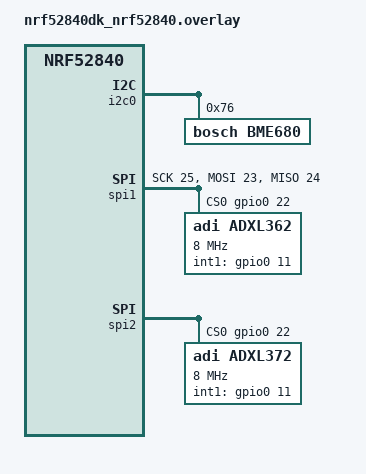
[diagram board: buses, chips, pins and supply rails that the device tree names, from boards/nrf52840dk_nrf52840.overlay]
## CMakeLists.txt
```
#
# Copyright (c) 2018 EUROS Embedded Systems GmbH
#
# SPDX-License-Identifier: Apache-2.0
#

cmake_minimum_required(VERSION 3.13.1)
find_package(Zephyr REQUIRED HINTS $ENV{ZEPHYR_BASE})
project(NONE)

FILE(GLOB app_sources src/*.c)
target_sources(app PRIVATE ${app_sources})
```

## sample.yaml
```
sample:
  name: thingy91 Sensor sample
tests:
  sample.sensor.thingy91:
    harness: sensor
    tags: samples sensor
    platform_allow: thingy91_nrf9160_ns
    platform_whitelist: thingy91_nrf9160_ns
    depends_on: spi adxl362
```

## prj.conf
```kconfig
CONFIG_FPU=y
CONFIG_NRF_MODEM_LIB=y
CONFIG_STDOUT_CONSOLE=y
CONFIG_UART_INTERRUPT_DRIVEN=y
CONFIG_I2C=y
CONFIG_BME680=y

CONFIG_SPI=y
CONFIG_SENSOR=y
CONFIG_ADXL362=y
CONFIG_ADXL362_TRIGGER_GLOBAL_THREAD=y
CONFIG_ADXL362_INTERRUPT_MODE=1
CONFIG_ADXL362_ABS_REF_MODE=1

CONFIG_LOG=y
CONFIG_SENSOR_LOG_LEVEL_WRN=y
CONFIG_ADXL372=y
CONFIG_ADXL372_TRIGGER_GLOBAL_THREAD=y

CONFIG_BH1749=y
CONFIG_BH1749_TRIGGER=y


CONFIG_NEWLIB_LIBC=y
CONFIG_NEWLIB_LIBC_FLOAT_PRINTF=y

# LTE Link Control
CONFIG_LTE_LINK_CONTROL=y
CONFIG_LTE_NETWORK_MODE_LTE_M_GPS=n
CONFIG_LTE_NETWORK_MODE_NBIOT_GPS=y
# Request eDRX from the network
CONFIG_LTE_EDRX_REQ=y
# PSM requested periodic TAU 8 hours
CONFIG_LTE_PSM_REQ_RPTAU="00101000"
# PSM requested active time 6 seconds
CONFIG_LTE_PSM_REQ_RAT="00000011"
# Auto-connect should be left off as we want the application to control LTE
CONFIG_LTE_AUTO_INIT_AND_CONNECT=n

# AT Host library - Used to send AT commands directy from an UART terminal and to allow
#		    integration with nRF Connect for Desktop LTE Link monitor application.
CONFIG_AT_HOST_LIBRARY=y

# Networking
CONFIG_NETWORKING=y
CONFIG_NET_SOCKETS_OFFLOAD=y
CONFIG_NET_SOCKETS=y
CONFIG_NET_SOCKETS_POSIX_NAMES=y
# Disable native network stack to save some memory
CONFIG_NET_NATIVE=n

# Memory and stack configuration
CONFIG_HEAP_MEM_POOL_SIZE=2048
CONFIG_MAIN_STACK_SIZE=4096
CONFIG_SYSTEM_WORKQUEUE_STACK_SIZE=1536

# Modem info
CONFIG_MODEM_INFO=y
```

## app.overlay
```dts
/*
 * Copyright (c) 2020, Nordic Semiconductor ASA
 *
 * SPDX-License-Identifier: Apache-2.0
 */

&adxl372 {
	bw = <4>;
	hpf = <0>;
	odr = <4>;
};
```

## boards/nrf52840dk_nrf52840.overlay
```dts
/*
 * Copyright (c) 2020, Nordic Semiconductor ASA
 *
 * SPDX-License-Identifier: Apache-2.0
 */

&i2c0 {
	bme680@76 {
		compatible = "bosch,bme680";
		reg = <0x76>;
		label = "BME680";
	};
};

&spi1 {
	status = "okay";
	sck-pin = <25>;
	mosi-pin = <23>;
	miso-pin = <24>;
	cs-gpios = <&gpio0 22 0>;

	adxl362@0 {
		compatible = "adi,adxl362";
		label = "ADXL362";
		spi-max-frequency = <8000000>;
		reg = <0>;
		int1-gpios = <&gpio0 11 GPIO_ACTIVE_HIGH>;
	};
};

&spi2 {
	cs-gpios = <&gpio0 22 0>;
	adxl372@0 {
		compatible = "adi,adxl372";
		reg = <0>;
		spi-max-frequency = <8000000>;
		label = "ADXL372";
		int1-gpios = <&gpio0 11 GPIO_ACTIVE_HIGH>;
	};
};
```

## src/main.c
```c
/*
 * Copyright (c) 2018 Bosch Sensortec GmbH
 *
 * SPDX-License-Identifier: Apache-2.0
 */

#include <zephyr/kernel.h>
#include <sys/types.h>
#include <zephyr/device.h>
#include <zephyr/devicetree.h>
#include <zephyr/drivers/gpio.h>
#include <zephyr/drivers/sensor.h>
#include <stdio.h>
#include <string.h>


#if CONFIG_NETWORKING
int btn_init(void);
int led_init(void);
ssize_t lte_send(const char * msg, size_t size);
#endif


#define OK 0
#define FAIL -1

#define MSG_SIZE 256

#define ENABLE_UART_OUT 1
#define ENABLE_ADXL362  1
#define ENABLE_ADXL372  1
#define ENABLE_BH1749   1
#define ENABLE_BME680   1

#define ADXL372_SKIP    4
#define BME680_SKIP    32

//#undef CONFIG_ADXL372_PEAK_DETECT_MODE
#define BH1749_THRESHOLD_UPPER          50
#define BH1749_THRESHOLD_LOWER          0
#define BH1749_TRIGGER_ON_DATA_READY    1


K_SEM_DEFINE(adxl362_sem, 0, 1);
K_SEM_DEFINE(adxl372_sem, 0, 1);
K_SEM_DEFINE(bh1749_sem, 0, 1);



#if ENABLE_ADXL362
// ADXL362
static void trigger_handler_adxl362(const struct device * dev, const struct sensor_trigger * trig)
{
	switch (trig->type)
	{
	case SENSOR_TRIG_DATA_READY:
	{
		int ret = sensor_sample_fetch(dev);

		if (ret < 0)
		{
			printf("ADXL362  Sample fetch error %d\n", ret);
			return;
		}

		k_sem_give(&adxl362_sem);

		break;
	}

	case SENSOR_TRIG_MOTION:
		printf("ADXL362  Motion trigger\n");

		break;

	case SENSOR_TRIG_STATIONARY:
		printf("ADXL362  Stationary trigger\n");

		break;

	default:
		printf("ADXL362  Unknown trigger %u\n", trig->type);
	}
}
#endif


#if ENABLE_ADXL372
// ADXL372
static void trigger_handler_adxl372(const struct device * dev, const struct sensor_trigger * trigger)
{
	ARG_UNUSED(trigger);

	int ret = sensor_sample_fetch(dev);

	if (ret < 0)
	{
		printf("ADXL372  sensor_sample_fetch failed %d\n", ret);
		return;
	}

	k_sem_give(&adxl372_sem);
}
#endif


#if ENABLE_BH1749
// BH1749
static void bh1749_trigger_handler(const struct device * dev, const struct sensor_trigger * trigger)
{
#if 0
	ARG_UNUSED(dev);

	switch (trigger->type)
	{
	case SENSOR_TRIG_THRESHOLD:
		printf("BH1749  Threshold trigger\r\n");
		break;

	case SENSOR_TRIG_DATA_READY:
		printf("BH1749  Data ready trigger\r\n");
		break;

	default:
		printf("BH1749  Unknown trigger event %d\r\n", trigger->type);
		break;
	}
#endif


	// The sensor does only support fetching SENSOR_CHAN_ALL
	int ret = sensor_sample_fetch_chan(dev, SENSOR_CHAN_ALL);

	if (ret)
	{
		printf("BH1749  sensor_sample_fetch failed ret %d\n", ret);
		return;
	}

	k_sem_give(&bh1749_sem);
}

static int bh1749_set_attribute(
	const struct device * dev,
	enum sensor_channel chan,
	enum sensor_attribute attr,
	int value
)
{
	int ret;
	struct sensor_value sensor_val;

	sensor_val.val1 = (value);

	ret = sensor_attr_set(dev, chan, attr, &sensor_val);

	if (ret)
	{
		printf("BH1749  sensor_attr_set failed ret %d\n", ret);
	}

	return ret;
}
#endif


int main(void)
{
	char msg[MSG_SIZE];
	size_t size = 0;

#if CONFIG_NETWORKING
	// init button and LED
	led_init();
	btn_init();
#endif


#if ENABLE_ADXL362
	// ADXL362
	const struct device * adxl362_dev = DEVICE_DT_GET_ONE(adi_adxl362);

	if (!device_is_ready(adxl362_dev))
	{
		printf("ADXL362  Device %s is not ready\n", adxl362_dev->name);
		return 1;
	}

	printf(
		"ADXL362 Device %p name is %s  "
#if CONFIG_ADXL362_TRIGGER
		"TRIGGER"
#else
		"NO TRIGGER"
#endif
		"\n",
		adxl362_dev,
		adxl362_dev->name
	);

	const struct sensor_trigger trig_adxl362_motion =
	{
		.type = SENSOR_TRIG_MOTION,
		.chan = SENSOR_CHAN_ACCEL_XYZ,
	};

	const struct sensor_trigger trig_adxl362_data_ready =
	{
		.type = SENSOR_TRIG_DATA_READY,
		.chan = SENSOR_CHAN_ACCEL_XYZ,
	};

	if (IS_ENABLED(CONFIG_ADXL362_TRIGGER))
	{
		if (sensor_trigger_set(adxl362_dev, &trig_adxl362_motion, trigger_handler_adxl362))
		{
			printf("ADXL362  Trigger set error: motion\n");
			return 1;
		}

		if (sensor_trigger_set(adxl362_dev, &trig_adxl362_data_ready, trigger_handler_adxl362))
		{
			printf("ADXL362  Trigger set error: data ready\n");
		}
	}
#endif


#if ENABLE_ADXL372
	// ADXL372
	const struct device * adxl372_dev = DEVICE_DT_GET_ANY(adi_adxl372);

	if (!device_is_ready(adxl372_dev))
	{
		printf("ADXL372  Device %s is not ready\n", adxl372_dev->name);
		return 1;
	}

	printf(
		"ADXL372 Device %p name is %s  "
#if CONFIG_ADXL372_TRIGGER
#if CONFIG_ADXL372_PEAK_DETECT_MODE
		"THRESHOLD"
#else
		"DATA_READY"
#endif
#else
		"NO TRIGGER"
#endif
		"\n",
		adxl372_dev,
		adxl372_dev->name
	);

	const struct sensor_trigger trig_adxl372 =
	{
#if CONFIG_ADXL372_PEAK_DETECT_MODE
		.type = SENSOR_TRIG_THRESHOLD,
#else
		.type = SENSOR_TRIG_DATA_READY,
#endif
		.chan = SENSOR_CHAN_ACCEL_XYZ,
	};

	if (IS_ENABLED(CONFIG_ADXL372_TRIGGER))
	{
		if (sensor_trigger_set(adxl372_dev, &trig_adxl372, trigger_handler_adxl372))
		{
			printf("ADXL372  Could not set trigger\n");
			return 1;
		}
	}
#endif


#if ENABLE_BH1749
	// BH1749
	const struct device * bh1749_dev;

	if (IS_ENABLED(CONFIG_LOG_BACKEND_RTT))
	{
		// Give RTT log time to be flushed before executing tests
		//-k_sleep(K_MSEC(500));
	}

	bh1749_dev = DEVICE_DT_GET_ONE(rohm_bh1749);

	if (bh1749_dev == NULL)
	{
		printf("BH1749  Failed to get device binding\n");
		return 1;
	}

	printf(
		"BH1749  Device %p name is %s  "
#if CONFIG_BH1749_TRIGGER
		"TRIGGER"
#else
		"NO TRIGGER"
#endif
		"\n",
		bh1749_dev,
		bh1749_dev->name
	);

	const struct sensor_trigger trig_bh1749 =
	{
#if BH1749_TRIGGER_ON_DATA_READY
		.type = SENSOR_TRIG_DATA_READY,
#else
		.type = SENSOR_TRIG_THRESHOLD,
#endif
		.chan = SENSOR_CHAN_RED,
	};

	if (IS_ENABLED(CONFIG_BH1749_TRIGGER))
	{
		bh1749_set_attribute(
			bh1749_dev,
			SENSOR_CHAN_ALL,
			SENSOR_ATTR_LOWER_THRESH,
			BH1749_THRESHOLD_LOWER
		);

		bh1749_set_attribute(
			bh1749_dev,
			SENSOR_CHAN_ALL,
			SENSOR_ATTR_UPPER_THRESH,
			BH1749_THRESHOLD_UPPER
		);

		if (sensor_trigger_set(bh1749_dev, &trig_bh1749, bh1749_trigger_handler))
		{
			printf("BH1749  Could not set trigger\n");
			return 1;
		}
	}

#endif


#if ENABLE_BME680
	// BME680
	const struct device * bme680_dev = DEVICE_DT_GET_ONE(bosch_bme680);

	if (!device_is_ready(bme680_dev))
	{
		printk("BME680  Device not ready.\n");
		return 1;
	}

	printf("BME680  Device %p name is %s\n", bme680_dev, bme680_dev->name);
#endif


	//
	int i = 0;


	while (true)
	{
		i++;

#if ENABLE_ADXL362
		// ADXL362
#if !CONFIG_ADXL362_TRIGGER
		{
			k_sleep(K_MSEC(1000));
			const int ret = sensor_sample_fetch(adxl362_dev);

			if (ret < 0)
			{
				printf("ADXL362  Sample fetch error %d\n", ret);
				return 1;
			}
		}
#else
		if (OK == k_sem_take(&adxl362_sem, K_FOREVER))
#endif
		{
			struct sensor_value adxl362_accel[3];

			if (sensor_channel_get(adxl362_dev, SENSOR_CHAN_ACCEL_XYZ, adxl362_accel))
			{
				printf("ADXL362  Channel get error\n");
				return 1;
			}

			size = snprintf(
				msg,
				sizeof(msg),
				"adxl362={\"x\": %.1f, \"y\": %.1f, \"z\": %.1f}\n",
				sensor_value_to_double(&adxl362_accel[0]),
				sensor_value_to_double(&adxl362_accel[1]),
				sensor_value_to_double(&adxl362_accel[2])
			);

#if ENABLE_UART_OUT
			printf("%s", msg);
#endif

#if CONFIG_NETWORKING
			lte_send(msg, size);
#endif
		}
#endif


#if ENABLE_ADXL372
		// ADXL372
#if !CONFIG_ADXL372_TRIGGER
		if (!(i % ADXL372_SKIP))
		{
			const int ret = sensor_sample_fetch(adxl372_dev);

			if (ret < 0)
			{
				printf("ADXL372  sensor_sample_fetch failed %d\n", ret);
				return 1;
			}
#else
		if (OK == k_sem_take(&adxl372_sem, K_NO_WAIT))
		{
#endif
			struct sensor_value adxl372_accel[3];

			if (sensor_channel_get(adxl372_dev, SENSOR_CHAN_ACCEL_XYZ, adxl372_accel))
			{
				printf("ADXL372  Channel get error\n");
				return 1;
			}

			size = snprintf(
				msg,
				sizeof(msg),
				"adxl372={\"x\": %.1f, \"y\": %.1f, \"z\": %.1f}\n",
				sensor_value_to_double(&adxl372_accel[0]),
				sensor_value_to_double(&adxl372_accel[1]),
				sensor_value_to_double(&adxl372_accel[2])
			);

#if ENABLE_UART_OUT
			printf("%s", msg);
#endif

#if CONFIG_NETWORKING
			lte_send(msg, size);
#endif
		}
#endif


#if ENABLE_BH1749
		// BH1749
#if !CONFIG_BH1749_TRIGGER
		{
			const int ret = sensor_sample_fetch_chan(bh1749_dev, SENSOR_CHAN_ALL);

			if (ret < 0)
			{
				printf("BH1749  sensor_sample_fetch failed %d\n", ret);
				return 1;
			}
		}
#else
		if (OK == k_sem_take(&bh1749_sem, K_NO_WAIT))
#endif
		{
			struct sensor_value bh1749_r;
			struct sensor_value bh1749_g;
			struct sensor_value bh1749_b;
			struct sensor_value bh1749_i;

			int ret_r = sensor_channel_get(bh1749_dev, SENSOR_CHAN_RED, &bh1749_r);
			int ret_g = sensor_channel_get(bh1749_dev, SENSOR_CHAN_GREEN, &bh1749_g);
			int ret_b = sensor_channel_get(bh1749_dev, SENSOR_CHAN_BLUE, &bh1749_b);
			int ret_i = sensor_channel_get(bh1749_dev, SENSOR_CHAN_IR, &bh1749_i);

			if (ret_r || ret_g || ret_b || ret_i)
			{
				printf(
					"sensor_channel_get failed  r %d  g %d  b %d  i %d\n",
					ret_r,
					ret_g,
					ret_b,
					ret_i
				);

				return 1;
			}

			size = snprintf(
				msg,
				sizeof(msg),
				"bh1749={\"r\": %d, \"g\": %d, \"b\": %d, \"i\": %d}\n",
				bh1749_r.val1,
				bh1749_g.val1,
				bh1749_b.val1,
				bh1749_i.val1
			);

#if ENABLE_UART_OUT
			printf("%s", msg);
#endif

#if CONFIG_NETWORKING
			lte_send(msg, size);
#endif
		}
#endif


#if ENABLE_BME680
		// BME680
		if (!(i % BME680_SKIP))
		{
			//k_sleep(K_MSEC(3000));
			struct sensor_value temp, press, humidity, gas_res;
			const int ret = sensor_sample_fetch(bme680_dev);

			if (ret < 0)
			{
				printf("BME680  sensor_sample_fetch failed %d\n", ret);
				return 1;
			}

			sensor_channel_get(bme680_dev, SENSOR_CHAN_AMBIENT_TEMP, &temp);
			sensor_channel_get(bme680_dev, SENSOR_CHAN_PRESS, &press);
			sensor_channel_get(bme680_dev, SENSOR_CHAN_HUMIDITY, &humidity);
			sensor_channel_get(bme680_dev, SENSOR_CHAN_GAS_RES, &gas_res);

			size = snprintf(
				msg,
				sizeof(msg),
				"bme680={\"temp\": %d.%03d, \"pressure\": %d.%03d, \"humidity\": %d.%03d, \"gas\": %d}\n",
				temp.val1, temp.val2 / 1000,
				press.val1, press.val2 / 1000,
				humidity.val1, humidity.val2 / 1000,
				gas_res.val1
			);

#if ENABLE_UART_OUT
			printf("%s", msg);
#endif

#if CONFIG_NETWORKING
			lte_send(msg, size);
#endif
		}
#endif
	}

	return 0;
}
```

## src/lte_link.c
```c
/*
 * Copyright (c) 2020 EUROS Embedded Systems GmbH
 *
 * SPDX-License-Identifier: Apache-2.0
 */

#if CONFIG_NETWORKING
#include <zephyr/kernel.h>
#include <nrf_socket.h>
#include <zephyr/net/socket.h>
#include <sys/types.h>
#include <zephyr/device.h>
#include <zephyr/devicetree.h>
#include <zephyr/drivers/gpio.h>
#include <zephyr/drivers/sensor.h>
#include <stdio.h>
#include <string.h>

 // LTE modem
#include <modem/nrf_modem_lib.h>
#include <modem/lte_lc.h>
#include <modem/modem_info.h>


#define OK 0
#define FAIL -1

#define CONFIG_TCP_SERVER_ADDRESS_STATIC "81.161.241.2" // gvalkov.com
//#define CONFIG_TCP_SERVER_ADDRESS_STATIC "87.138.172.131" // euros-embedded.com
#define CONFIG_TCP_SERVER_PORT 81


// LED
#if CONFIG_BOARD_THINGY91_NRF9160_NS
#define LED_R_NODE DT_ALIAS(led0)
#define LED_G_NODE DT_ALIAS(led1)
#define LED_B_NODE DT_ALIAS(led2)
#define LED_SR_NODE DT_ALIAS(sense_led0)
#define LED_SG_NODE DT_ALIAS(sense_led1)
#define LED_SB_NODE DT_ALIAS(sense_led2)
#elif CONFIG_BOARD_NRF9160DK_NRF9160_NS
#define LED_R_NODE DT_ALIAS(led1)
#define LED_G_NODE DT_ALIAS(led2)
#define LED_B_NODE DT_ALIAS(led3)
#define LED_SR_NODE DT_ALIAS(led1)
#define LED_SG_NODE DT_ALIAS(led2)
#define LED_SB_NODE DT_ALIAS(led3)
#else
#error "Unsupported board: please use nRF9160dk or Thingy:91"
#endif

#if DT_NODE_HAS_STATUS(LED_R_NODE, okay)
#define LED_R	  GPIO_DT_SPEC_GET(LED_R_NODE, gpios)
#define LED_G	  GPIO_DT_SPEC_GET(LED_G_NODE, gpios)
#define LED_B	  GPIO_DT_SPEC_GET(LED_B_NODE, gpios)
#define LED_SR	  GPIO_DT_SPEC_GET(LED_SR_NODE, gpios)
#define LED_SG	  GPIO_DT_SPEC_GET(LED_SG_NODE, gpios)
#define LED_SB	  GPIO_DT_SPEC_GET(LED_SB_NODE, gpios)
#define PIN_R	  DT_GPIO_PIN(LED_R_NODE, gpios)
#define PIN_G	  DT_GPIO_PIN(LED_G_NODE, gpios)
#define PIN_B	  DT_GPIO_PIN(LED_B_NODE, gpios)
#define PIN_SR	  DT_GPIO_PIN(LED_SR_NODE, gpios)
#define PIN_SG	  DT_GPIO_PIN(LED_SG_NODE, gpios)
#define PIN_SB	  DT_GPIO_PIN(LED_SB_NODE, gpios)
#define FLAGS_R	  DT_GPIO_FLAGS(LED_R_NODE, gpios)
#define FLAGS_G	  DT_GPIO_FLAGS(LED_G_NODE, gpios)
#define FLAGS_B	  DT_GPIO_FLAGS(LED_B_NODE, gpios)
#define FLAGS_SR  DT_GPIO_FLAGS(LED_SR_NODE, gpios)
#define FLAGS_SG  DT_GPIO_FLAGS(LED_SG_NODE, gpios)
#define FLAGS_SB  DT_GPIO_FLAGS(LED_SB_NODE, gpios)

gpio_flags_t led_flags[] = { FLAGS_R, FLAGS_G, FLAGS_B, FLAGS_SR, FLAGS_SG, FLAGS_SB };
#define LED_COUNT (sizeof(led_flags) / sizeof(*led_flags))
#else
#error "Unsupported board: led0 devicetree alias is not defined"
#endif

struct LED_t
{
	const struct gpio_dt_spec r;
	const struct gpio_dt_spec g;
	const struct gpio_dt_spec b;
};

struct LEDS_t
{
	union
	{
		struct
		{
			struct LED_t main;
			struct LED_t sense;
		};

		const struct gpio_dt_spec list[LED_COUNT];
	};
};

static struct LEDS_t led =
{
	.list =
	{
		LED_R, LED_G, LED_B, LED_SR, LED_SG, LED_SB
	}
};

static int led_g_state = false;

int led_init(void)
{
	int b = OK;
	size_t i = 0;

	for (i = 0; i < LED_COUNT; i++)
	{
		gpio_pin_configure_dt(&led.list[i], led_flags[i] | GPIO_OUTPUT_INACTIVE);
	}

	return b;
}

int led_set(const struct gpio_dt_spec * led, int on)
{
	return gpio_pin_set_dt(led, on);
}

int led_set_rgb(struct LED_t * led, int r, int g, int b)
{
	int err = 0;
	err |= led_set(&led->r, r);
	err |= led_set(&led->g, g);
	err |= led_set(&led->b, b);

	return err;
}

int led_toggle_g(void)
{
	led_g_state = led_g_state ? false : true;

	return led_set(&led.main.g, led_g_state);
}


// BUTTONS
#define BTN_0_NODE DT_ALIAS(sw0)

#if DT_NODE_HAS_STATUS(BTN_0_NODE, okay)
#define BTN_0		GPIO_DT_SPEC_GET(BTN_0_NODE, gpios)
#define BTN_0_FLAGS	DT_GPIO_FLAGS(BTN_0_NODE, gpios)
#else
#error "Unsupported board: sw0 devicetree alias is not defined"
#endif

static struct gpio_callback btn_0_cb_data;
static const struct gpio_dt_spec btn_0 = BTN_0;
static int btn_0_trigger_count = 0;
static int btn_0_trigger = 0;

void btn_0_pressed(const struct device * dev, struct gpio_callback * cb, uint32_t pins)
{
	if (++btn_0_trigger_count >= 5)
	{
		btn_0_trigger_count = 0;
		btn_0_trigger = 1;
		led_set_rgb(&led.sense, 1, 1, 1);
	}
}

int btn_init(void)
{
	int b = FAIL;

	gpio_pin_configure_dt(&btn_0, BTN_0_FLAGS | GPIO_INPUT);
	gpio_pin_interrupt_configure_dt(&btn_0, GPIO_INT_EDGE_TO_ACTIVE);

	if (
		(OK == gpio_pin_configure_dt(&btn_0, BTN_0_FLAGS | GPIO_INPUT)) &&
		(OK == gpio_pin_interrupt_configure_dt(&btn_0, GPIO_INT_EDGE_TO_ACTIVE))
		)
	{
		b = OK;
		gpio_init_callback(&btn_0_cb_data, btn_0_pressed, BIT(btn_0.pin));
		gpio_add_callback(btn_0.port, &btn_0_cb_data);
	}

	return OK;
}

int btn_get(const struct gpio_dt_spec * btn)
{
	return gpio_pin_get_dt(btn);
}


static struct modem_param_info modem_param;
static struct sockaddr_storage host_addr;
static int lte_enabled = 0;
static int lte_ready = 0;
static int so = FAIL;


// connect to TCP server
int tcp_connect(void)
{
	led_set_rgb(&led.main, 1, 1, 1);
	printk("connecting %s:%u  ", CONFIG_TCP_SERVER_ADDRESS_STATIC, CONFIG_TCP_SERVER_PORT);

	// server address init
	struct sockaddr_in * server4 = ((struct sockaddr_in *)&host_addr);

	server4->sin_family = AF_INET;
	server4->sin_port = htons(CONFIG_TCP_SERVER_PORT);

	inet_pton(AF_INET, CONFIG_TCP_SERVER_ADDRESS_STATIC, &server4->sin_addr);

	// server connect
	int so = socket(AF_INET, SOCK_STREAM, IPPROTO_TCP);

	if (so < 0)
	{
		led_set_rgb(&led.main, 1, 0, 1);
		printk("\n\tcannot create TCP socket  %u %s\n\n", errno, strerror(errno));

		return FAIL;
	}

	led_set_rgb(&led.main, 0, 1, 1);

	int err = connect(so, (struct sockaddr *)&host_addr, sizeof(struct sockaddr_in));

	if (err < 0)
	{
		close(so);
		led_set_rgb(&led.main, 1, 0, 0);
		printk("\n\tFAILED  %u %s\n\n", errno, strerror(errno));

		return FAIL;
	}

	led_set_rgb(&led.main, 0, 1, 0);
	printk("OK\n\n");

	return so;
}

int lte_init(void)
{
	// init LTE
	led_set_rgb(&led.sense, 0, 0, 1);
	printk("LTE modem starting...  ");
	int b = lte_lc_init_and_connect();

	if (b != OK)
	{
		led_set_rgb(&led.sense, 1, 0, 0);
		printk("FAILED %u\n\n", -b);
		return FAIL;
	}

	led_set_rgb(&led.sense, 0, 1, 1);
	printk("OK  ");

	// init AT CMD parser
	b = modem_info_init();

	if (b != OK)
	{
		led_set_rgb(&led.sense, 1, 0, 1);
		printk("\n\tLTE modem AT CMD parser failed to start: %d\n\n", -b);

		return FAIL;
	}

	// init the modem information structure
	b = modem_info_params_init(&modem_param);

	if (b != OK)
	{
		led_set_rgb(&led.sense, 1, 1, 0);
		printk("\n\tLTE modem_param is NULL: %d\n\n", -b);

		return FAIL;
	}

	// LTE link ready
	led_set_rgb(&led.sense, 0, 0, 0);
	printk("link ready\n");
	lte_ready = true;

	return OK;
}

ssize_t lte_send(const char * msg, size_t size)
{
	if (!msg || !size)
	{
		return FAIL;
	}

#if CONFIG_BOARD_THINGY91_NRF9160_NS
	led_set_rgb(&led.sense, 0, 0, 0);
#endif

	if (btn_0_trigger)
	{
		// toggle TCP connection
		lte_enabled = !lte_enabled;
		btn_0_trigger = 0;
	}

	if (!lte_ready && lte_enabled)
	{
		lte_ready = (OK == lte_init());

		if (!lte_ready)
		{
			return FAIL;
		}
	}

	if (so == FAIL)
	{
		if (lte_enabled)
		{
			so = tcp_connect();
		}

		if (so == FAIL)
		{
			if (btn_0_trigger)
			{
				led_set_rgb(&led.main, 0, 0, 0);
			}

			return FAIL;
		}
	}
	else if (!lte_enabled)
	{
		shutdown(so, SHUT_RDWR);
		close(so);
		so = FAIL;
		led_set_rgb(&led.main, 0, 0, 0);
		printk("TCP log disabled\n\n");

		return FAIL;
	}

	ssize_t bytes_sent = send(so, msg, size, 0);

	if (bytes_sent <= 0)
	{
		close(so);
		so = FAIL;
		led_set_rgb(&led.main, 1, 1, 0);
		printk("send failed\n\n");

		return FAIL;
	}

	led_toggle_g();

	return bytes_sent;
}
#endif
```
